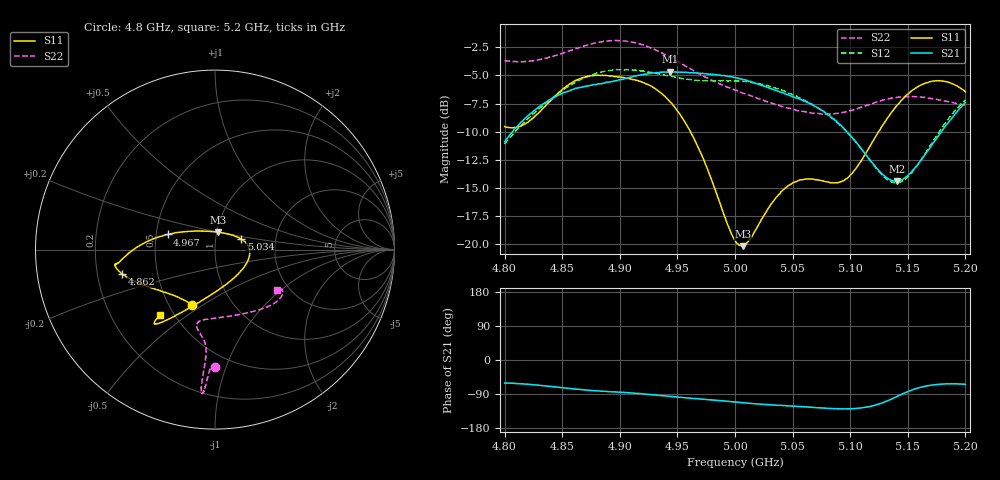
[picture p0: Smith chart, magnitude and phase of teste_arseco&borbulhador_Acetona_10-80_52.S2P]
! Network Analyzer HP8722D
! Hewlett-Packard
! Data name: Linha & Wilkinson
! Saver's name: Rodrigo Anjos
! Comments: Teste da utilização de aquisição
! continua pelo VNA HP8722D
! Time and date: 17/4/2025 14:47
!  Frequency  S11  S21  S12  S22
# HZ  S  MA R 50
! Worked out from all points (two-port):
!   401 points, 4.8 GHz to 5.2 GHz, reference 50 ohm
!   highest |S21| = -4.67 dB at 4.944 GHz (marker M1); lowest = -14.4 dB at 5.141 GHz (marker M2)
!   |S21| within 3 dB of the highest: 4.831 GHz to 5.068 GHz (236.8 MHz wide, 4.78 % of centre); 5.197576 GHz to end of sweep
!   lowest |S11| = -20.2 dB at 5.007 GHz (marker M3), VSWR 1.22, Z = 50.9 + j9.89 ohm
!   |S11| at or under -10 dB: 4.961 GHz to 5.125 GHz (163.3 MHz wide, 3.24 % of centre)
!   |S22| runs from -8.4 to -1.9 dB; largest |S21 - S12| = 0.88
!   S11 on the Smith chart (normalised r, x): 4.8 GHz: 0.65, -0.45; 4.862 GHz: 0.31, -0.12; 4.967 GHz: 0.58, +0.10; 5.034 GHz: 1.33, +0.16; 5.2 GHz: 0.42, -0.39
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4.8e9  0.3332 -113.0  0.2854 -60.8  0.2794 -174.9  0.6553 -89.9
4.819e9  0.3459 -132.9  0.3671 -63.8  0.3555 -173.4  0.6508 -91.4
4.862e9  0.5346 -165.3  0.4939 -76.8  0.5272 -176.4  0.7415 -93.7
4.867e9  0.5486 -167.3  0.4988 -78.2  0.5428 -177.5  0.7558 -93.9
4.899e9  0.5532 -171.9  0.5372 -84.9  0.5964 175.9  0.8031 -95.2
4.934e9  0.4778 -177.9  0.5794 -93.4  0.5727 171.9  0.7179 -95.6
4.944e9  0.4289 177.6  0.5839 -96.0  0.5576 172.1  0.6765 -95.4
4.967e9  0.2768 162.3  0.5761 -102.0  0.5348 174.1  0.5788 -94.9
5e9  0.1039 103.5  0.55 -111.0  0.5321 176.5  0.484 -99.1
5.007e9  0.09792 79.2  0.5392 -112.6  0.53 176.3  0.4688 -100.7
5.013e9  0.105 60.3  0.5303 -114.4  0.5257 176.1  0.458 -101.9
5.034e9  0.1572 22.1  0.485 -118.9  0.4966 175.0  0.4205 -103.6
5.05e9  0.1869 5.8  0.4528 -121.6  0.4614 174.3  0.3984 -99.6
5.067e9  0.1948 -12.4  0.4173 -124.7  0.4192 173.8  0.3823 -91.0
5.087e9  0.1872 -44.4  0.3545 -128.4  0.3532 173.8  0.3809 -75.9
5.097e9  0.1953 -65.1  0.3161 -128.9  0.3159 174.7  0.3884 -67.5
5.134e9  0.3736 -115.8  0.194 -105.4  0.1904 -158.3  0.4439 -43.0
5.141e9  0.416 -119.8  0.1908 -95.5  0.1873 -147.4  0.4495 -39.9
5.153e9  0.4791 -124.7  0.2091 -79.8  0.2066 -129.1  0.4532 -35.6
5.17e9  0.5288 -128.4  0.2715 -66.4  0.2769 -112.6  0.4448 -31.8
5.184e9  0.5269 -129.8  0.3425 -62.9  0.3539 -107.1  0.4315 -30.8
5.2e9  0.4762 -130.3  0.4265 -64.2  0.4387 -106.2  0.4144 -33.1
